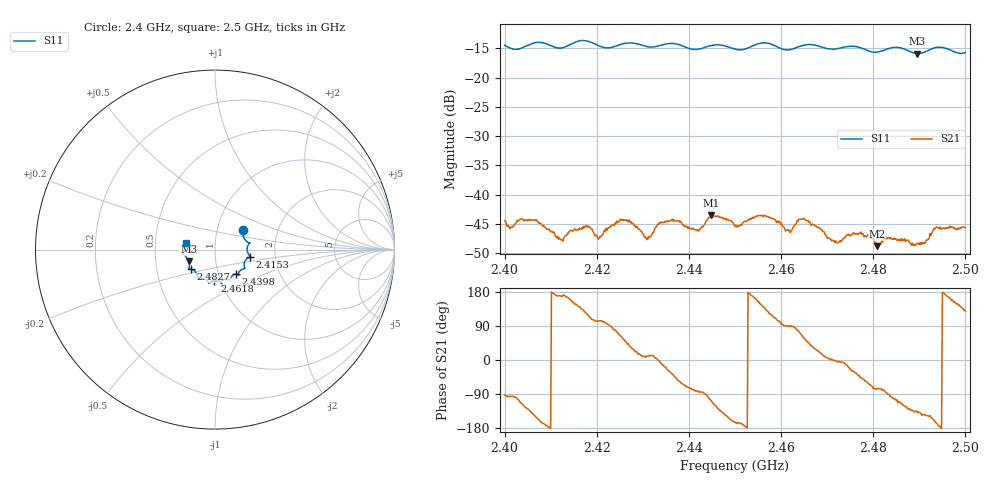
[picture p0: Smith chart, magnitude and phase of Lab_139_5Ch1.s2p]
# Hz S RI R 50
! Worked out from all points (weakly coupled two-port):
!   601 points, 2.4 GHz to 2.5 GHz, reference 50 ohm
!   highest |S21| = -43.43 dB at 2.4448 GHz (marker M1); lowest = -48.8 dB at 2.4808 GHz (marker M2)
!   lowest |S11| = -15.9 dB at 2.4895 GHz (marker M3), VSWR 1.38, Z = 37 - j5.01 ohm
!   |S11| at or under -10 dB: start of sweep to end of sweep
!   S12 and S22 are empty: the file has one direction only
!   S11 on the Smith chart (normalised r, x): 2.4 GHz: 1.33, +0.30; 2.4153 GHz: 1.48, -0.12; 2.4398 GHz: 1.21, -0.34; 2.4618 GHz: 0.94, -0.33; 2.4827 GHz: 0.75, -0.17; 2.5 GHz: 0.72, +0.06
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2.4e9  0.1553 0.107  -0.000228 -0.00601  0 0  0 0
2.406667e9  0.1952 0.0375  -0.0052 -0.00307  0 0  0 0
2.412167e9  0.1785 -0.00233  -0.00406 0.00078  0 0  0 0
2.415333e9  0.1966 -0.0394  -0.00423 0.00281  0 0  0 0
2.416667e9  0.2024 -0.0435  -0.00364 0.00355  0 0  0 0
2.420667e9  0.1784 -0.0505  -0.00102 0.00429  0 0  0 0
2.426e9  0.1668 -0.1017  0.0037 0.00484  0 0  0 0
2.431167e9  0.1409 -0.1163  0.00414 0.000758  0 0  0 0
2.433333e9  0.1298 -0.1336  0.00559 -6.25e-05  0 0  0 0
2.439833e9  0.1156 -0.1356  0.00155 -0.00491  0 0  0 0
2.444833e9  0.0842 -0.168  -0.00209 -0.00641  0 0  0 0
2.45e9  0.0654 -0.1622  -0.00521 -0.00135  0 0  0 0
2.456e9  0.0383 -0.1939  -0.00514 0.00405  0 0  0 0
2.461833e9  -0.00354 -0.1728  5.66e-05 0.00491  0 0  0 0
2.466667e9  -0.0348 -0.1881  0.00448 0.00323  0 0  0 0
2.472e9  -0.0702 -0.1613  0.00395 -0.000208  0 0  0 0
2.480833e9  -0.1171 -0.116  0.000804 -0.00355  0 0  0 0
2.482667e9  -0.1349 -0.1085  0.000426 -0.00416  0 0  0 0
2.483333e9  -0.1401 -0.1082  -8.62e-06 -0.0043  0 0  0 0
2.4895e9  -0.1459 -0.066  -0.00269 -0.00275  0 0  0 0
2.493667e9  -0.1794 -0.0233  -0.00513 -0.00126  0 0  0 0
2.5e9  -0.159 0.0385  -0.00325 0.00408  0 0  0 0
